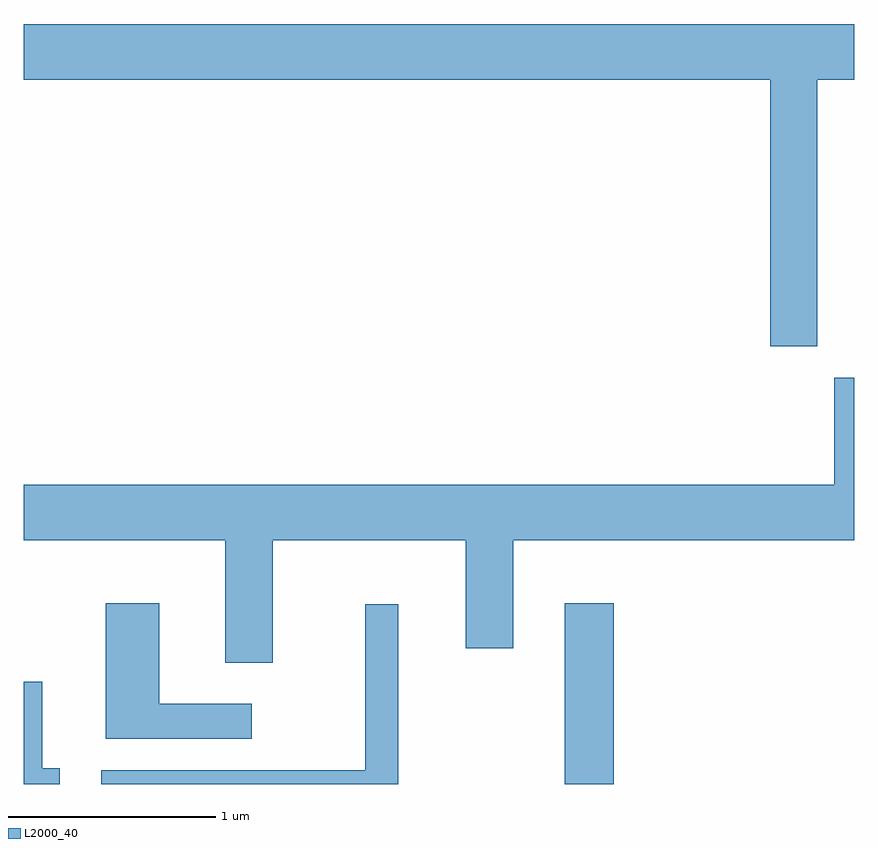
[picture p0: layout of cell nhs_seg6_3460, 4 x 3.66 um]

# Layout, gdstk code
import gdstk
lib = gdstk.Library(unit=1e-6, precision=1e-09)
def R(c, l, rs):  # rectangles x0, y0, x1, y1
    for r in rs: c.add(gdstk.rectangle(r[:2], r[2:], *l))
def P(c, l, *ps):  # polygons
    for p in ps: c.add(gdstk.Polygon(p, *l))
L2000_40 = (2000, 40)

nhs_seg6_3460 = lib.new_cell('nhs_seg6_3460')
R(nhs_seg6_3460, L2000_40, [(292.216,1582.162,292.454,1583.034)])
P(nhs_seg6_3460, L2000_40, [(293.434,1585.556),(293.611,1585.556),(293.611,1585.824),(289.611,1585.824),(289.611,1585.556),(293.206,1585.556),(293.206,1584.271),(293.434,1584.271)],
  [(290.809,1583.336),(291.741,1583.336),(291.741,1582.816),(291.969,1582.816),(291.969,1583.336),(293.611,1583.336),(293.611,1584.119),(293.516,1584.119),(293.516,1583.604),(289.611,1583.604),(289.611,1583.336),(290.581,1583.336),(290.581,1582.746),(290.809,1582.746)],
  [(290.708,1582.549),(290.264,1582.549),(290.264,1583.034),(290.006,1583.034),(290.006,1582.381),(290.708,1582.381)],
  [(291.414,1583.028),(291.256,1583.028),(291.256,1582.229),(289.983,1582.229),(289.983,1582.162),(291.414,1582.162)],
  [(289.783,1582.239),(289.699,1582.239),(289.699,1582.654),(289.611,1582.654),(289.611,1582.162),(289.783,1582.162)])

lib.write_gds('nhs_seg6_3460.gds')
